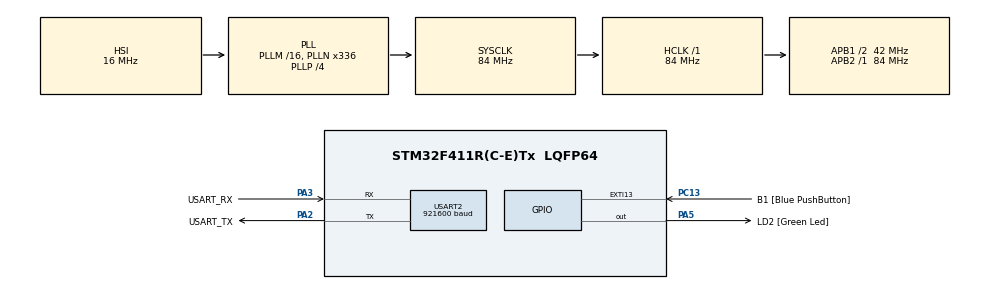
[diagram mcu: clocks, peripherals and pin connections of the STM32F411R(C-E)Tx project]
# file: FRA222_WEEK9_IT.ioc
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Dma.Request0=USART2_RX
Dma.Request1=USART2_TX
Dma.USART2_RX.0.Direction=DMA_PERIPH_TO_MEMORY
Dma.USART2_RX.0.FIFOMode=DMA_FIFOMODE_DISABLE
Dma.USART2_RX.0.Instance=DMA1_Stream5
Dma.USART2_RX.0.MemDataAlignment=DMA_MDATAALIGN_BYTE
Dma.USART2_RX.0.MemInc=DMA_MINC_ENABLE
Dma.USART2_RX.0.Mode=DMA_CIRCULAR
Dma.USART2_RX.0.PeriphDataAlignment=DMA_PDATAALIGN_BYTE
Dma.USART2_RX.0.PeriphInc=DMA_PINC_DISABLE
Dma.USART2_RX.0.Priority=DMA_PRIORITY_LOW
Dma.USART2_TX.1.Direction=DMA_MEMORY_TO_PERIPH
Dma.USART2_TX.1.FIFOMode=DMA_FIFOMODE_DISABLE
Dma.USART2_TX.1.Instance=DMA1_Stream6
Dma.USART2_TX.1.MemDataAlignment=DMA_MDATAALIGN_BYTE
Dma.USART2_TX.1.MemInc=DMA_MINC_ENABLE
Dma.USART2_TX.1.Mode=DMA_NORMAL
Dma.USART2_TX.1.PeriphDataAlignment=DMA_PDATAALIGN_BYTE
Dma.USART2_TX.1.PeriphInc=DMA_PINC_DISABLE
Dma.USART2_TX.1.Priority=DMA_PRIORITY_LOW
Mcu.Family=STM32F4
Mcu.Name=STM32F411R(C-E)Tx
Mcu.Package=LQFP64
NVIC.DMA1_Stream5_IRQn=true\:0\:0\:false\:false\:true\:false\:true\:true
NVIC.DMA1_Stream6_IRQn=true\:0\:0\:false\:false\:true\:false\:true\:true
NVIC.PriorityGroup=NVIC_PRIORITYGROUP_0
NVIC.USART2_IRQn=true\:0\:0\:false\:false\:true\:true\:true\:true
PA13.GPIO_Label=TMS
PA13.Mode=Serial_Wire
PA13.Signal=SYS_JTMS-SWDIO
PA14.GPIO_Label=TCK
PA14.Mode=Serial_Wire
PA14.Signal=SYS_JTCK-SWCLK
PA2.GPIO_Label=USART_TX
PA2.Mode=Asynchronous
PA2.Signal=USART2_TX
PA3.GPIO_Label=USART_RX
PA3.Mode=Asynchronous
PA3.Signal=USART2_RX
PA5.GPIO_Label=LD2 [Green Led]
PA5.Signal=GPIO_Output
PB3.GPIO_Label=SWO
PB3.Signal=SYS_JTDO-SWO
PC13-ANTI_TAMP.GPIO_Label=B1 [Blue PushButton]
PC13-ANTI_TAMP.GPIO_ModeDefaultEXTI=GPIO_MODE_IT_FALLING
PC13-ANTI_TAMP.Signal=GPXTI13
PC14-OSC32_IN.Mode=LSE-External-Oscillator
PC14-OSC32_IN.Signal=RCC_OSC32_IN
PC15-OSC32_OUT.Mode=LSE-External-Oscillator
PC15-OSC32_OUT.Signal=RCC_OSC32_OUT
PH0\ -\ OSC_IN.Mode=HSE-External-Clock-Source
PH0\ -\ OSC_IN.Signal=RCC_OSC_IN
PH1\ -\ OSC_OUT.Mode=HSE-External-Clock-Source
PH1\ -\ OSC_OUT.Signal=RCC_OSC_OUT
ProjectManager.HeapSize=0x200
ProjectManager.StackSize=0x400
ProjectManager.TargetToolchain=STM32CubeIDE
RCC.48MHZClocksFreq_Value=84000000
RCC.AHBFreq_Value=84000000
RCC.APB1CLKDivider=RCC_HCLK_DIV2
RCC.APB1Freq_Value=42000000
RCC.APB1TimFreq_Value=84000000
RCC.APB2Freq_Value=84000000
RCC.APB2TimFreq_Value=84000000
RCC.CortexFreq_Value=84000000
RCC.FLatency-AdvancedSettings=FLASH_LATENCY_2
RCC.HCLKFreq_Value=84000000
RCC.HSE_VALUE=8000000
RCC.HSI_VALUE=16000000
RCC.PLLN=336
RCC.PLLP=RCC_PLLP_DIV4
RCC.SYSCLKFreq_VALUE=84000000
RCC.SYSCLKSource=RCC_SYSCLKSOURCE_PLLCLK
RCC.VCOOutputFreq_Value=336000000
USART2.BaudRate=921600
USART2.Parity=PARITY_NONE
USART2.StopBits=STOPBITS_2
USART2.VirtualMode=VM_ASYNC
board=NUCLEO-F411RE

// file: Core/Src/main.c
/* USER CODE BEGIN Header */
/**
 ******************************************************************************
 * @file           : main.c
 * @brief          : Main program body
 ******************************************************************************
 * @attention
 *
 * Copyright (c) 2023 STMicroelectronics.
 * All rights reserved.
 *
 * This software is licensed under terms that can be found in the LICENSE file
 * in the root directory of this software component.
 * If no LICENSE file comes with this software, it is provided AS-IS.
 *
 ******************************************************************************
 */
/* USER CODE END Header */
#include "main.h"

/* USER CODE BEGIN Includes */
#include "stdio.h"
#include "string.h"
/* USER CODE END Includes */

UART_HandleTypeDef huart2;
DMA_HandleTypeDef hdma_usart2_rx;
DMA_HandleTypeDef hdma_usart2_tx;

/* USER CODE BEGIN PV */
uint8_t RxBuffer[20];
uint8_t TxBuffer[40];
uint8_t state = 0;
int16_t sysHz = 10;
uint8_t ledSwitch = 1;
uint8_t buttonStateBf = 1;
uint8_t buttonStateAf = 1;
uint8_t buttonLogic = 0;

/* USER CODE END PV */

void SystemClock_Config(void);
static void MX_GPIO_Init(void);
static void MX_DMA_Init(void);
static void MX_USART2_UART_Init(void);
/* USER CODE BEGIN PFP */
void DummyTask();
void UARTInterruptConfig();
void UARTDMAConfig();
void homePage();
void ledPage();
void buttonPageP();
void buttonPageUp();
void handleState();
void buttonStatus();
/* USER CODE END PFP */

int main(void) {

	/* MCU Configuration--------------------------------------------------------*/

	/* Reset of all peripherals, Initializes the Flash interface and the Systick. */
	HAL_Init();

	/* Configure the system clock */
	SystemClock_Config();

	/* Initialize all configured peripherals */
	MX_GPIO_Init();
	MX_DMA_Init();
	MX_USART2_UART_Init();
	/* USER CODE BEGIN 2 */
	homePage();
	UARTDMAConfig();
	//UARTInterruptConfig();
	/* USER CODE END 2 */

	/* Infinite loop */
	while (1) {

		/* USER CODE BEGIN 3 */
		if (ledSwitch) {
			DummyTask();
		} else {
			HAL_GPIO_WritePin(GPIOA, GPIO_PIN_5, GPIO_PIN_RESET);
		}
		if (state == 2) {
			buttonStatus();
		}

	}
	/* USER CODE END 3 */
}

void SystemClock_Config(void) {
	RCC_OscInitTypeDef RCC_OscInitStruct = { 0 };
	RCC_ClkInitTypeDef RCC_ClkInitStruct = { 0 };

	/** Configure the main internal regulator output voltage
	 */
	__HAL_RCC_PWR_CLK_ENABLE();
	__HAL_PWR_VOLTAGESCALING_CONFIG(PWR_REGULATOR_VOLTAGE_SCALE1);

	/** Initializes the RCC Oscillators according to the specified parameters
	 * in the RCC_OscInitTypeDef structure.
	 */
	RCC_OscInitStruct.OscillatorType = RCC_OSCILLATORTYPE_HSI;
	RCC_OscInitStruct.HSIState = RCC_HSI_ON;
	RCC_OscInitStruct.HSICalibrationValue = RCC_HSICALIBRATION_DEFAULT;
	RCC_OscInitStruct.PLL.PLLState = RCC_PLL_ON;
	RCC_OscInitStruct.PLL.PLLSource = RCC_PLLSOURCE_HSI;
	RCC_OscInitStruct.PLL.PLLM = 16;
	RCC_OscInitStruct.PLL.PLLN = 336;
	RCC_OscInitStruct.PLL.PLLP = RCC_PLLP_DIV4;
	RCC_OscInitStruct.PLL.PLLQ = 4;
	if (HAL_RCC_OscConfig(&RCC_OscInitStruct) != HAL_OK) {
		Error_Handler();
	}

	/** Initializes the CPU, AHB and APB buses clocks
	 */
	RCC_ClkInitStruct.ClockType = RCC_CLOCKTYPE_HCLK | RCC_CLOCKTYPE_SYSCLK
			| RCC_CLOCKTYPE_PCLK1 | RCC_CLOCKTYPE_PCLK2;
	RCC_ClkInitStruct.SYSCLKSource = RCC_SYSCLKSOURCE_PLLCLK;
	RCC_ClkInitStruct.AHBCLKDivider = RCC_SYSCLK_DIV1;
	RCC_ClkInitStruct.APB1CLKDivider = RCC_HCLK_DIV2;
	RCC_ClkInitStruct.APB2CLKDivider = RCC_HCLK_DIV1;

	if (HAL_RCC_ClockConfig(&RCC_ClkInitStruct, FLASH_LATENCY_2) != HAL_OK) {
		Error_Handler();
	}
}

static void MX_USART2_UART_Init(void) {

	huart2.Instance = USART2;
	huart2.Init.BaudRate = 921600;
	huart2.Init.WordLength = UART_WORDLENGTH_8B;
	huart2.Init.StopBits = UART_STOPBITS_2;
	huart2.Init.Parity = UART_PARITY_NONE;
	huart2.Init.Mode = UART_MODE_TX_RX;
	huart2.Init.HwFlowCtl = UART_HWCONTROL_NONE;
	huart2.Init.OverSampling = UART_OVERSAMPLING_16;
	if (HAL_UART_Init(&huart2) != HAL_OK) {
		Error_Handler();
	}

}

static void MX_DMA_Init(void) {

	/* DMA controller clock enable */
	__HAL_RCC_DMA1_CLK_ENABLE();

	/* DMA interrupt init */
	/* DMA1_Stream5_IRQn interrupt configuration */
	HAL_NVIC_SetPriority(DMA1_Stream5_IRQn, 0, 0);
	HAL_NVIC_EnableIRQ(DMA1_Stream5_IRQn);
	/* DMA1_Stream6_IRQn interrupt configuration */
	HAL_NVIC_SetPriority(DMA1_Stream6_IRQn, 0, 0);
	HAL_NVIC_EnableIRQ(DMA1_Stream6_IRQn);

}

static void MX_GPIO_Init(void) {
	GPIO_InitTypeDef GPIO_InitStruct = { 0 };

	/* GPIO Ports Clock Enable */
	__HAL_RCC_GPIOC_CLK_ENABLE();
	__HAL_RCC_GPIOH_CLK_ENABLE();
	__HAL_RCC_GPIOA_CLK_ENABLE();
	__HAL_RCC_GPIOB_CLK_ENABLE();

	/*Configure GPIO pin Output Level */
	HAL_GPIO_WritePin(LD2_GPIO_Port, LD2_Pin, GPIO_PIN_RESET);

	/*Configure GPIO pin : B1_Pin */
	GPIO_InitStruct.Pin = B1_Pin;
	GPIO_InitStruct.Mode = GPIO_MODE_IT_FALLING;
	GPIO_InitStruct.Pull = GPIO_NOPULL;
	HAL_GPIO_Init(B1_GPIO_Port, &GPIO_InitStruct);

	/*Configure GPIO pin : LD2_Pin */
	GPIO_InitStruct.Pin = LD2_Pin;
	GPIO_InitStruct.Mode = GPIO_MODE_OUTPUT_PP;
	GPIO_InitStruct.Pull = GPIO_NOPULL;
	GPIO_InitStruct.Speed = GPIO_SPEED_FREQ_LOW;
	HAL_GPIO_Init(LD2_GPIO_Port, &GPIO_InitStruct);

}

/* USER CODE BEGIN 4 */
void UARTDMAConfig() {
	// start UART in DMA Mode
	HAL_UART_Receive_DMA(&huart2, RxBuffer, 1);
}

void HAL_UART_RxCpltCallback(UART_HandleTypeDef *huart) {
	if (huart == &huart2) {
		handleState();
	}
}

void handleState() {
	switch (state) {
	case 0:

		if (RxBuffer[0] == '0') {
			state += 1;
			ledPage();
		} else if (RxBuffer[0] == '1') {
			state += 2;
			buttonPageUp();
		} else {
			uint8_t text6[41] = "Error Type of Input : Try Again\r\n";
			//HAL_UART_Transmit(&huart2, text6, 33, 10);
			HAL_UART_Transmit(&huart2, text6, 33, 10);
		}
		// statements
		break;
	case 1:

		if (RxBuffer[0] == 'a') {
			sysHz += 1;
			uint8_t spuTxt[33];
			sprintf((char*) spuTxt, "<Speed Up> | Current Hz : %d\r\n", sysHz);
			HAL_UART_Transmit(&huart2, spuTxt, strlen((char*) spuTxt), 10);
		} else if (RxBuffer[0] == 's') {
			if (sysHz > 0) {
				sysHz -= 1;
				uint8_t spdTxt[35];
				sprintf((char*) spdTxt, "<Speed Down> | Current Hz : %d\r\n",
						sysHz);
				HAL_UART_Transmit(&huart2, spdTxt, strlen((char*) spdTxt), 10);
			} else {
				uint8_t text6[64] =
						"Error Minus Hz Is Not Available: Please Increase The Frequency\r\n";
				HAL_UART_Transmit(&huart2, text6, 64, 10);
			}

		} else if (RxBuffer[0] == 'd') {
			if (ledSwitch == 1) {
				uint8_t text6[19] = "<Turn Off LED>:(\r\n";
				HAL_UART_Transmit(&huart2, text6, 19, 10);
				ledSwitch = 0;
			} else {
				uint8_t text6[19] = "<Turn On LED> :)\r\n";
				HAL_UART_Transmit(&huart2, text6, 19, 10);
				ledSwitch = 1;
			}
		} else if (RxBuffer[0] == 'x') {
			state -= 1;
			homePage();
		} else {
			uint8_t text6[41] = "Error Type of Input : Try Again\r\n";
			HAL_UART_Transmit(&huart2, text6, 33, 10);
		}
		break;
	case 2:

		if (RxBuffer[0] == 'x') {
			state -= 2;
			homePage();
		} else {
			uint8_t text6[41] = "Error Type of Input : Try Again\r\n";
			HAL_UART_Transmit(&huart2, text6, 33, 10);
		}

		break;

	}
}
void homePage() {
	uint8_t text1[38] = "*****LAB 5 : UART Communication*****\r\n";
	uint8_t text2[38] = "*->Press 0 : LED CONTROL           *\r\n";
	uint8_t text3[38] = "*->Press 1 : BUTTON STATUS         *\r\n";
	uint8_t text4[38] = "************************************\r\n";
	HAL_UART_Transmit(&huart2, text1, 38, 100);
	HAL_UART_Transmit(&huart2, text2, 38, 100);
	HAL_UART_Transmit(&huart2, text3, 38, 100);
	HAL_UART_Transmit(&huart2, text4, 38, 100);
}

void ledPage() {
	uint8_t text1[38] = "**********LED CONTROL MODE**********\r\n";
	uint8_t text2[38] = "* a : Speed Up   +1Hz              *\r\n";
	uint8_t text3[38] = "* s : Speed Down -1Hz              *\r\n";
	uint8_t text4[38] = "* d : On/Off                       *\r\n";
	uint8_t text5[38] = "* x : back                         *\r\n";
	uint8_t text6[38] = "************************************\r\n";
	HAL_UART_Transmit(&huart2, text1, 38, 10);
	HAL_UART_Transmit(&huart2, text2, 38, 10);
	HAL_UART_Transmit(&huart2, text3, 38, 10);
	HAL_UART_Transmit(&huart2, text4, 38, 10);
	HAL_UART_Transmit(&huart2, text5, 38, 10);
	HAL_UART_Transmit(&huart2, text6, 38, 10);
}

void buttonPageP() {
	uint8_t text1[38] = "***********BUTTON STATUS************\r\n";
	uint8_t text2[38] = "* x : back                         *\r\n";
	uint8_t text3[38] = "* Button Is Pressed                *\r\n";
	uint8_t text4[38] = "************************************\r\n";
	HAL_UART_Transmit(&huart2, text1, 38, 10);
	HAL_UART_Transmit(&huart2, text2, 38, 10);
	HAL_UART_Transmit(&huart2, text3, 38, 10);
	HAL_UART_Transmit(&huart2, text4, 38, 10);
}

void buttonPageUp() {
	uint8_t text1[38] = "***********BUTTON STATUS************\r\n";
	uint8_t text2[38] = "* x : back                         *\r\n";
	uint8_t text3[38] = "* Button Is Unpressed              *\r\n";
	uint8_t text4[38] = "************************************\r\n";
	HAL_UART_Transmit(&huart2, text1, 38, 10);
	HAL_UART_Transmit(&huart2, text2, 38, 10);
	HAL_UART_Transmit(&huart2, text3, 38, 10);
	HAL_UART_Transmit(&huart2, text4, 38, 10);
}

void buttonStatus() {
	buttonStateAf = HAL_GPIO_ReadPin(B1_GPIO_Port, B1_Pin);
	if (buttonStateAf == 0 && buttonStateBf == 1) {
		buttonPageP();
	}
	if (buttonStateAf == 1 && buttonStateBf == 0) {
		buttonPageUp();
	}
	buttonStateBf = buttonStateAf;
}
void DummyTask() {
	static float timestamp = 0;
	if (HAL_GetTick() >= timestamp) {
		timestamp = HAL_GetTick() + (1000 / sysHz); // 10 Hz
		HAL_GPIO_TogglePin(LD2_GPIO_Port, LD2_Pin);
	}
}
/* USER CODE END 4 */

void Error_Handler(void) {
	__disable_irq();
	while (1) {
	}
}
